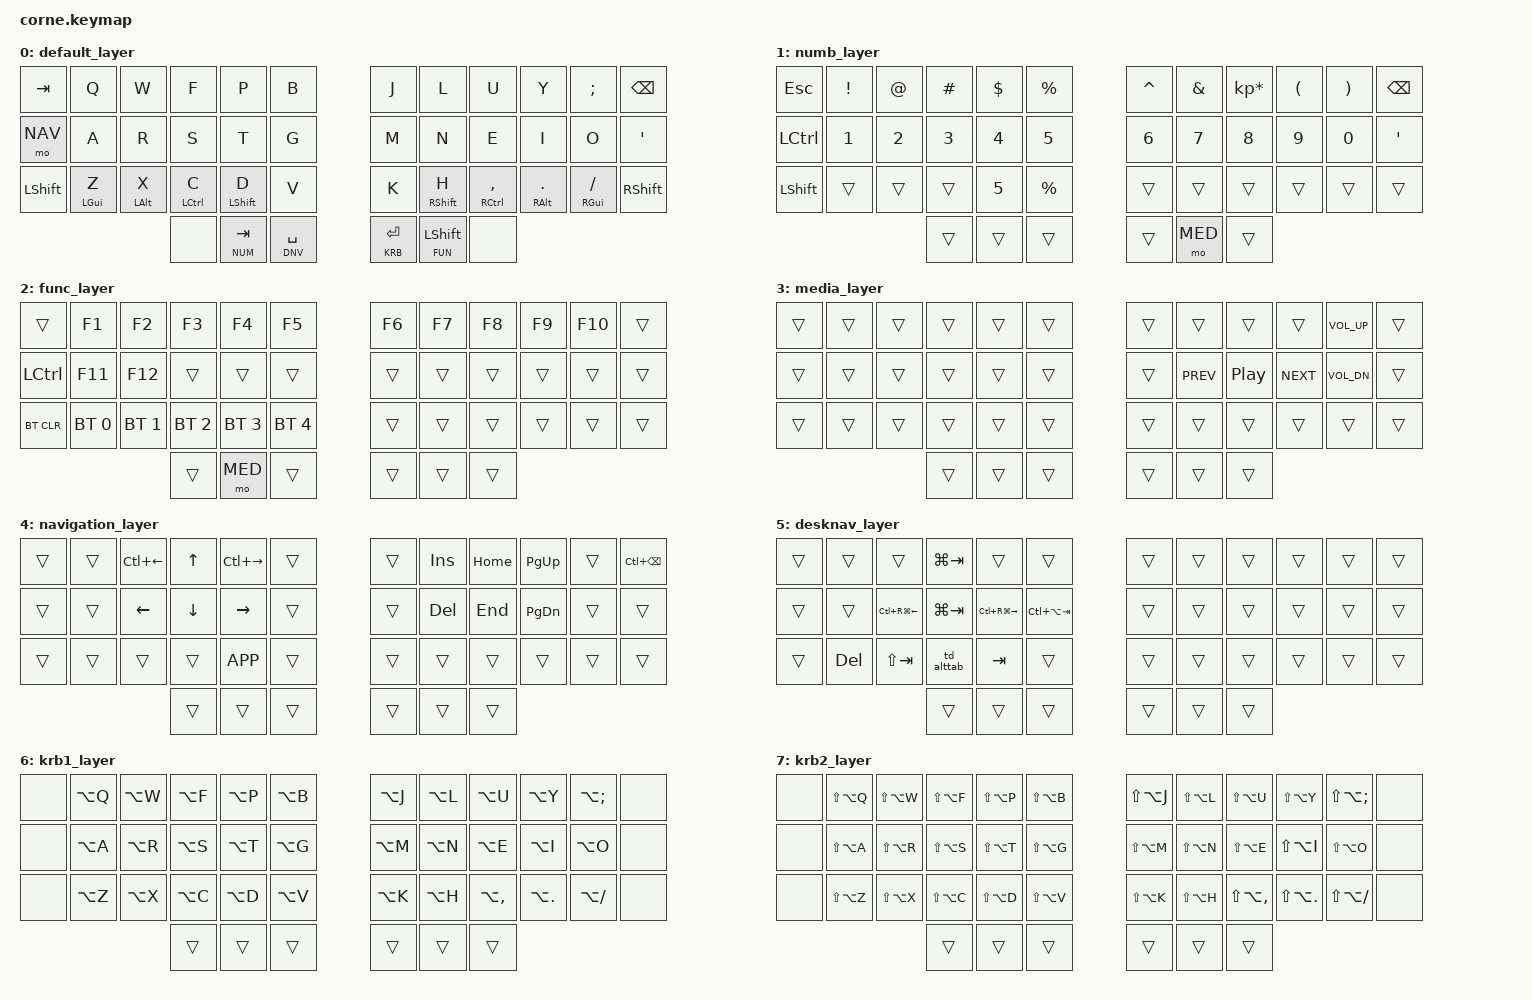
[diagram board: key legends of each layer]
/*
 * Copyright (c) 2020 The ZMK Contributors
 *
 * SPDX-License-Identifier: MIT
 */

#include <behaviors.dtsi>
#include <dt-bindings/zmk/keys.h>
#include <dt-bindings/zmk/bt.h>
#include "../zmk-nodefree-config/helper.h"
#include "../zmk-nodefree-config/keypos_def/keypos_42keys.h"

#define DEF 0
#define NUM 1
#define FUN 2
#define MED 3
#define NAV 4
#define DNV 5
#define KRB 6
#define KR2 7


// Two-hand combos:
ZMK_COMBO(combo_hrcaps, &caps_word, LB1 RB1, ALL) // D H

// Left-hand combos:
ZMK_COMBO(combo_close,  &kp LC(W), LT4 LT3, ALL, 20) // Q W
ZMK_COMBO(combo_esc,    &kp ESC,   LT3 LT2, ALL, 20) // W F
ZMK_COMBO(combo_tab,    &kp TAB,   LT2 LT1, ALL, 20) // F P
ZMK_COMBO(combo_ctlaltdel, &kp LC(LA(DEL)), LT4 LT3 LT2 LT1, ALL, 20) // Q W F P

ZMK_COMBO(combo_all,    &kp LC(A), LM4 LM3, ALL, 20) // A R
ZMK_COMBO(combo_bspace, &kp BSPC,  LM3 LM2, ALL, 20) // R S
ZMK_COMBO(combo_del,    &kp DEL,   LM2 LM1, ALL, 20) // S T
ZMK_COMBO(combo_delw,   &kp LC(BSPC), LM3 LM2 LM1, ALL, 20) // R S T
ZMK_COMBO(combo_delln,  &delete_line, LM4 LM3 LM2 LM1, ALL, 20) // A R S T
ZMK_COMBO(combo_newln,  &mm_newline, LM1 LM0, ALL, 20) // T G

ZMK_COMBO(combo_undo,   &kp LC(Z), LB4 LB3, ALL, 20) // Z X
ZMK_COMBO(combo_copy,   &kp LC(C), LB3 LB2, ALL, 20) // X C
ZMK_COMBO(combo_paste,  &kp LC(V), LB2 LB1, ALL, 20) // C D
ZMK_COMBO(combo_cut,    &kp LC(X), LB3 LB2 LB1, ALL, 20) // X C D
ZMK_COMBO(combo_selln,  &select_line, LB1 LB0, ALL, 20) // D V

// Right-hand combos:
ZMK_COMBO(combo_bqt,    &kp GRAVE, RT0 RT1, ALL, 20) // J L
ZMK_COMBO(combo_tildgr, &tildegr,  RT1 RT2, ALL, 20) // L U
ZMK_COMBO(combo_smcln,  &kp SEMI,  RT2 RT3, ALL, 20) // U Y
ZMK_COMBO(combo_qst,    &kp QMARK, RT1 RT3, ALL, 20) // L Y 
ZMK_COMBO(combo_excl,   &kp EXCL,  RT1 RT4, ALL, 20) // L ;
ZMK_COMBO(combo_plus,   &kp PLUS,  RT1 RT2 RT3, ALL, 20) // L U Y

ZMK_COMBO(combo_undscr, &kp UNDER, RM0 RM1, ALL, 20) // M N
ZMK_COMBO(combo_dash,   &kp MINUS, RM1 RM2, ALL, 20) // N E
ZMK_COMBO(combo_sqt,    &kp SQT,   RM2 RM3, ALL, 20) // E I
ZMK_COMBO(combo_dqt,    &kp DQT,   RM3 RM4, ALL, 20) // I O
ZMK_COMBO(combo_equal,  &kp EQUAL, RM1 RM2 RM3, ALL, 20) // N E I
ZMK_COMBO(combo_colon,  &kp COLON, RM1 RM3, ALL, 20) // N I

ZMK_COMBO(combo_pipe,   &kp PIPE,  RT0 RM0, ALL, 20) // M J
ZMK_COMBO(combo_fslsh,  &kp FSLH,  RM1 RT2, ALL, 20) // N U
ZMK_COMBO(combo_bslsh,  &kp BSLH,  RT2 RM3, ALL, 20) // U I
ZMK_COMBO(combo_lbkt,   &kp LBKT,  RB1 RM2, ALL, 20) // H E
ZMK_COMBO(combo_rbkt,   &kp RBKT,  RM2 RB3, ALL, 20) // E >

ZMK_COMBO(combo_autcrct, &autocrct, RB0 RB1, ALL, 20) // K H
ZMK_COMBO(combo_dotdotsl, &dot_dot_slash, RB3 RB4, ALL, 20) // . / 

// Thumbs:
ZMK_COMBO(combo_space,  &kp SPACE, LH0 LH1, ALL, 20) // Two thumb keys: repeatable space
ZMK_COMBO(combo_ret,    &kp RET,   RH0 RH1, ALL, 20) // repeatable enter

// Condidional layers
// ZMK_CONDITIONAL_LAYER(NUM FUN, MED) -- Only last Conditional layer seems to work
ZMK_CONDITIONAL_LAYER(DNV KRB, KR2)

&lt {
        tapping-term-ms = <250>;
};

/ {
        macros {
                alt_tab: alt_tab {
                        label = "Alt-Tab";
                        compatible = "zmk,behavior-macro";
                        #binding-cells = <0>;
                        bindings
                                = <&macro_press &kp RALT>
                                , <&macro_tap &kp TAB>
                                , <&macro_pause_for_release>
                                , <&macro_release &kp RALT>
                                ;
                };

                alt_tab2: alt_tab2 {
                        label = "Alt-Tab2";
                        compatible = "zmk,behavior-macro";
                        #binding-cells = <0>;
                        bindings
                                = <&macro_tap &kt RALT>
                                , <&macro_tap &kp TAB>
                                , <&macro_wait_time 1000>
                                , <&macro_tap &kt RALT>
                                ;
                };

                select_line: select_line {
                        label = "Select Line";
                        compatible = "zmk,behavior-macro";
                        #binding-cells = <0>;
                        bindings
                                = <&macro_tap &kp END>
                                , <&macro_tap &kp LS(HOME)>
                                ;
                };

                delete_line: delete_line {
                        label = "Delete Line";
                        compatible = "zmk,behavior-macro";
                        #binding-cells = <0>;
                        bindings
                                = <&macro_tap &kp END>
                                , <&macro_tap &kp LS(HOME)>
                                , <&macro_tap &kp LS(HOME)>
                                , <&macro_tap &kp BSPC>
                                , <&macro_tap &kp BSPC>
                                ;
                };

                new_line: new_line {
                        label = "New Line";
                        compatible = "zmk,behavior-macro";
                        #binding-cells = <0>;
                        bindings
                                = <&macro_tap &kp END>
                                , <&macro_tap &kp RET>
                                ;
                };

                new_line_up: new_line_up {
                        label = "New Line Up";
                        compatible = "zmk,behavior-macro";
                        #binding-cells = <0>;
                        bindings
                                = <&macro_tap &kp UP>
                                , <&macro_tap &kp END>
                                , <&macro_tap &kp RET>
                                ;
                };

                dot_dot_slash: dot_dot_slash {
                        label = "Dot Dot Slash";
                        compatible = "zmk,behavior-macro";
                        #binding-cells = <0>;
                        bindings
                                = <&macro_tap &kp DOT>
                                , <&macro_tap &kp DOT>
                                , <&macro_tap &kp FSLH>
                                ;
                };

                autocrct: autocorrect {
                        label = "Autocorrect";
                        compatible = "zmk,behavior-macro";
                        #binding-cells = <0>;
                        bindings
                                = <&macro_tap &kp K_APP>
                                , <&macro_tap &kp DOWN>
                                , <&macro_tap &kp RETURN>
                                ;
                };
        };

        behaviors {
                hm: homerow_mods {
                        compatible = "zmk,behavior-hold-tap";
                        label = "HOMEROW_MODS";
                        #binding-cells = <2>;
                        tapping-term-ms = <200>;
                        quick-tap-ms = <0>;
                        require-prior-idle-ms = <100>;
                        flavor = "tap-preferred";
                        bindings = <&kp>, <&kp>;
                };

                lt_rpi: layertap_requireprioridle {
                        compatible = "zmk,behavior-hold-tap";
                        label = "RPI LAYER TAP";
                        #binding-cells = <2>;
                        tapping-term-ms = <200>;
                        quick-tap-ms = <0>;
                        require-prior-idle-ms = <200>;
                        flavor = "tap-preferred";
                        bindings = <&mo>, <&kp>;
                };

                lt_hp: layertap_holdpreferred {
                        compatible = "zmk,behavior-hold-tap";
                        label = "HP LAYER TAP";
                        #binding-cells = <2>;
                        tapping-term-ms = <200>;
                        quick-tap-ms = <0>;
                        flavor = "hold-preferred";
                        bindings = <&mo>, <&kp>;
                };

                ltst_hp: layertapstick_holdpreferred {
                        compatible = "zmk,behavior-hold-tap";
                        label = "HP LAYER TAP";
                        #binding-cells = <2>;
                        tapping-term-ms = <200>;
                        quick-tap-ms = <0>;
                        flavor = "hold-preferred";
                        bindings = <&mo>, <&sk>;
                };

                tildegr: tilde_grave {
                        compatible = "zmk,behavior-mod-morph";
                        label = "TILDE_GRAVE";
                        #binding-cells = <0>;
                        bindings = <&kp TILDE>, <&kp GRAVE>;
                        mods = <(MOD_LSFT|MOD_RSFT)>;
                };

                mm_newline: mm_newline {
                        compatible = "zmk,behavior-mod-morph";
                        label = "Mod-morph newline";
                        #binding-cells = <0>;
                        bindings = <&new_line>, <&new_line_up>;
                        mods = <(MOD_LSFT|MOD_RSFT)>;
                };

                mm_delword: mm_delword {
                        compatible = "zmk,behavior-mod-morph";
                        label = "Mod-morph delete word";
                        #binding-cells = <0>;
                        bindings = <&kp LC(BSPC)>, <&kp LC(DEL)>;
                        mods = <(MOD_LSFT|MOD_RSFT)>;
                };

                td_alttab: td_alttab {
                        compatible = "zmk,behavior-tap-dance";
                        #binding-cells = <0>;
                        tapping-term-ms = <200>;
                        bindings = <&alt_tab>, <&kp LC(LA(TAB))>;
                };

                td_close: td_close {
                        compatible = "zmk,behavior-tap-dance";
                        #binding-cells = <0>;
                        tapping-term-ms = <200>;
                        bindings = <&kp LC(W)>, <&kp LA(F4)>;
                };

                td_nav: td_navlayer {
                        compatible = "zmk,behavior-tap-dance";
                        #binding-cells = <0>;
                        tapping-term-ms = <200>;
                        bindings = <&lt_rpi DNV SPACE>, <&lt_rpi NAV SPACE>;
                };
        };


// Max 9 characters per key
#define HMLGUIZ   &hm LGUI Z
#define HMLALTX   &hm LALT X
#define HMLCTLC   &hm LCTRL C
#define HMLSFTD   &hm LSHFT D
#define HMRSFTH   &hm RSHFT H
#define HMRCTLCOM &hm RCTRL COMMA
#define HMRALTDOT &hm RALT DOT
#define HMRGUISLH &hm RGUI FSLH
#define LTDNVSPAC &lt_rpi DNV SPACE
#define LTNUMTAB  &lt_hp NUM TAB
#define LTKRBRET  &lt_rpi KRB RETURN
#define LTFUNSTS  &ltst_hp FUN LSHIFT
#define STARSBL   &kp KP_MULTIPLY
#define BTCLR     &bt BT_CLR
#define BTSEL0    &bt BT_SEL 0
#define BTSEL1    &bt BT_SEL 1
#define BTSEL2    &bt BT_SEL 2
#define BTSEL3    &bt BT_SEL 3
#define BTSEL4    &bt BT_SEL 4
#define VOLUMUP   &kp C_VOL_UP
#define VOLUMDN   &kp C_VOL_DN
#define PREVIOUS  &kp C_PREV
#define NEXT      &kp C_NEXT
#define WORDLEFT  &kp LC(LEFT)
#define WORDRIGHT &kp LC(RIGHT)
#define DELWORD   &kp LC(BSPC)
#define TASKVIEW  &kp LG(TAB)
#define DESKLEFT  &kp LC(RG(LEFT))
#define DESKRIGHT &kp LC(RG(RIGHT))
#define LSTAB     &kp LS(TAB)
#define CTRALTTAB &kp LC(LA(TAB))
#define ZMOVELEFT &kp LG(LA(LC(LEFT)))
#define ZMOVERGHT &kp LG(LA(LC(RIGHT)))
#define ZNAV1     &kp LG(LC(N1))
#define ZNAV2     &kp LG(LC(N2))
#define ZNAV3     &kp LG(LC(N3))
#define ZNAV4     &kp LG(LC(N4))
#define WLEFT     &kp RG(LEFT)
#define WUP       &kp RG(UP)
#define WDOWN     &kp RG(DOWN)
#define WRIGHT    &kp RG(RIGHT)

        keymap {
                compatible = "zmk,keymap";
/* 
// ----------------------------------Layer template----------------------------------------------------------------------------
                        bindings = <
    &trans    &trans    &trans    &trans    &trans    &trans      &trans    &trans    &trans    &trans    &trans    &trans
    &trans    &trans    &trans    &trans    &trans    &trans      &trans    &trans    &trans    &trans    &trans    &trans
    &trans    &trans    &trans    &trans    &trans    &trans      &trans    &trans    &trans    &trans    &trans    &trans
                                  &trans    &trans    &trans      &trans    &trans    &trans
                        >;
*/

                // Layer 0: DEF
                default_layer {
// ----------------------------------------------------------------------------------------------------------------------------
// |  TAB    |  Q      |  W      |  F      |  P      |  B      | |  J      |  L      |  U      |  Y      |  ;      | BKSP     |
// |  NAV    |  A      |  R      |  S      |  T      |  G      | |  M      |  N      |  E      |  I      |  O      |  '       |
// | LSHIFT  |  Z/GUI  |  X/LALT |  C/LCTL |  D/LSFT |  V      | |  K      |  H/RSFT |  ,/RCTL |  ./RALT |  /-RGUI | RSHIFT   |
//                               | ------- | NUM     | SPACE   | | ENTER   | FUN     | ------- |
                        bindings = <
    &kp TAB   &kp Q     &kp W     &kp F     &kp P     &kp B       &kp J     &kp L     &kp U     &kp Y     &kp SEMI  &kp BSPC
    &mo NAV   &kp A     &kp R     &kp S     &kp T     &kp G       &kp M     &kp N     &kp E     &kp I     &kp O     &kp SQT
    &kp LSHFT HMLGUIZ   HMLALTX   HMLCTLC   HMLSFTD   &kp V       &kp K     HMRSFTH   HMRCTLCOM HMRALTDOT HMRGUISLH &kp RSHFT
                                  &none     LTNUMTAB  LTDNVSPAC   LTKRBRET  LTFUNSTS  &none
                        >;
                };
                // layer 1: NUM
                numb_layer {
// ----------------------------------------------------------------------------------------------------------------------------
// |  ESC    |  !      |  @      |  #      |  $      |  %      | |  ^      |  &      |  *      |  (      |  )      | BKSP     |
// | CTRL    |  1      |  2      |  3      |  4      |  5      | |  6      |  7      |  8      |  9      |  O      |          |
// | SHFT    |         |         |         |  5      |  %      | |         |         |         |         |         |          |
//                               |         | ------- |         | |         | MED     |         |
                        bindings = <
    &kp ESC   &kp EXCL  &kp AT    &kp HASH  &kp DLLR  &kp PRCNT   &kp CARET &kp AMPS  STARSBL   &kp LPAR  &kp RPAR  &kp BSPC
    &kp LCTRL &kp N1    &kp N2    &kp N3    &kp N4    &kp N5      &kp N6    &kp N7    &kp N8    &kp N9    &kp N0    &kp SQT
    &kp LSHFT &trans    &trans    &trans    &kp N5    &kp PRCNT   &trans    &trans    &trans    &trans    &trans    &trans
                                  &trans    &trans    &trans      &trans    &mo MED   &trans
                        >;
                };
                // layer 2: FUN
                func_layer {
// ----------------------------------------------------------------------------------------------------------------------------
// |         | F1      | F2      | F3      | F4      | F5      | | F6      | F7      | F8      | F9      | F10     |          |
// | CTRL    | F11     | F12     |         |         |         | |         |         |         |         |         |          |
// | BTCLR   | BT1     | BT2     | BT3     | BT4     | BT5     | |         |         |         |         |         |          |
//                               |         |         |         | |         |         | ------- |
                        bindings = <
    &trans    &kp F1    &kp F2    &kp F3    &kp F4    &kp F5      &kp F6    &kp F7    &kp F8    &kp F9    &kp F10   &trans
    &kp LCTRL &kp F11   &kp F12   &trans    &trans    &trans      &trans    &trans    &trans    &trans    &trans    &trans
    BTCLR     BTSEL0    BTSEL1    BTSEL2    BTSEL3    BTSEL4      &trans    &trans    &trans    &trans    &trans    &trans
                                  &trans    &mo MED   &trans      &trans    &trans    &trans
                        >;
                };
                // layer 3: MED
                media_layer {
// ----------------------------------------------------------------------------------------------------------------------------
// |         |         |         |         |         |         | |         |         |         |         | VOLDN   |         |
// |         |         |         |         |         |         | |         | PREVIOUS| PLAY    | NEXT    | VOLUP   |         |
// |         |         |         |         |         |         | |         |         |         |         |         |         |
//                               |         | ------- |         | |         | ------- |         |
                        bindings = <
    &trans    &trans    &trans    &trans    &trans    &trans      &trans    &trans    &trans    &trans    VOLUMUP   &trans
    &trans    &trans    &trans    &trans    &trans    &trans      &trans    PREVIOUS  &kp C_PP  NEXT      VOLUMDN   &trans
    &trans    &trans    &trans    &trans    &trans    &trans      &trans    &trans    &trans    &trans    &trans    &trans
                                  &trans    &trans    &trans      &trans    &trans    &trans
                        >;
                };
                // layer 4: NAV
                navigation_layer {
// ----------------------------------------------------------------------------------------------------------------------------
// |         |         | WORDLFT | UP      | WORDRGT |         | |         | INS     | HOME    | PAGEUP  |         | DELWORD  |
// | ------- |         | LEFT    | DOWN    | RIGHT   |         | |         | DEL     | END     | PAGEDN  |         |          |
// |         |         |         |         | APP     |         | |         |         |         |         |         |          |
//                               |         |         |         | |         |         |         |
                        bindings = <
    &trans    &trans    WORDLEFT  &kp UP    WORDRIGHT &trans      &trans    &kp INS   &kp HOME  &kp PG_UP &trans    DELWORD
    &trans    &trans    &kp LEFT  &kp DOWN  &kp RIGHT &trans      &trans    &kp DEL   &kp END   &kp PG_DN &trans    &trans
    &trans    &trans    &trans    &trans    &kp K_APP &trans      &trans    &trans    &trans    &trans    &trans    &trans
                                  &trans    &trans    &trans      &trans    &trans    &trans
                        >;
                };
                // layer 5: DNV
                desknav_layer {
// ----------------------------------------------------------------------------------------------------------------------------
// |         |         |         | TASKVIEW|         |         | |         |         |         |         |         |          |
// |         |         | DESKL   | TASKVIEW| DESKR   |         | |         |         |         |         |         |          |
// |         | DEL     | SHIFTTAB| ALT TAB | TAB     |         | |         |         |         |         |         |          |
//                               |         |         | ------- | |         |         |         |
                        bindings = <
    &trans    &trans    &trans    TASKVIEW  &trans    &trans      &trans    &trans    &trans    &trans    &trans    &trans
    &trans    &trans    DESKLEFT  TASKVIEW  DESKRIGHT CTRALTTAB   &trans    &trans    &trans    &trans    &trans    &trans
    &trans    &kp DEL   LSTAB     &td_alttab &kp TAB  &trans      &trans    &trans    &trans    &trans    &trans    &trans
                                  &trans    &trans    &trans      &trans    &trans    &trans
                        >;
                };
                // layer 6: Komorebi Shortcuts 1
                // This layer is essentially a Alt shortcut layer, all configs are found in whkd
                krb1_layer {
                        bindings = <
    &none     &kp LA(Q) &kp LA(W) &kp LA(F) &kp LA(P) &kp LA(B)   &kp LA(J) &kp LA(L) &kp LA(U)     &kp LA(Y)   &kp LA(SEMI)  &none
    &none     &kp LA(A) &kp LA(R) &kp LA(S) &kp LA(T) &kp LA(G)   &kp LA(M) &kp LA(N) &kp LA(E)     &kp LA(I)   &kp LA(O)     &none
    &none     &kp LA(Z) &kp LA(X) &kp LA(C) &kp LA(D) &kp LA(V)   &kp LA(K) &kp LA(H) &kp LA(COMMA) &kp LA(DOT) &kp LA(FSLH)  &none
                                  &trans    &trans    &trans      &trans    &trans    &trans
                        >;
                };
                // layer 7: Komorebi Shortcuts 2
                // This layer is essentially a Shift-Alt shortcut layer, all configs are found in whkd
                krb2_layer {
                        bindings = <
    &none  &kp LS(LA(Q)) &kp LS(LA(W)) &kp LS(LA(F)) &kp LS(LA(P)) &kp LS(LA(B))   &kp LS(LA(J)) &kp LS(LA(L)) &kp LS(LA(U))     &kp LS(LA(Y))   &kp LS(LA(SEMI))  &none
    &none  &kp LS(LA(A)) &kp LS(LA(R)) &kp LS(LA(S)) &kp LS(LA(T)) &kp LS(LA(G))   &kp LS(LA(M)) &kp LS(LA(N)) &kp LS(LA(E))     &kp LS(LA(I))   &kp LS(LA(O))     &none
    &none  &kp LS(LA(Z)) &kp LS(LA(X)) &kp LS(LA(C)) &kp LS(LA(D)) &kp LS(LA(V))   &kp LS(LA(K)) &kp LS(LA(H)) &kp LS(LA(COMMA)) &kp LS(LA(DOT)) &kp LS(LA(FSLH))  &none
                                  &trans    &trans    &trans      &trans    &trans    &trans
                        >;
                };
        };
};
